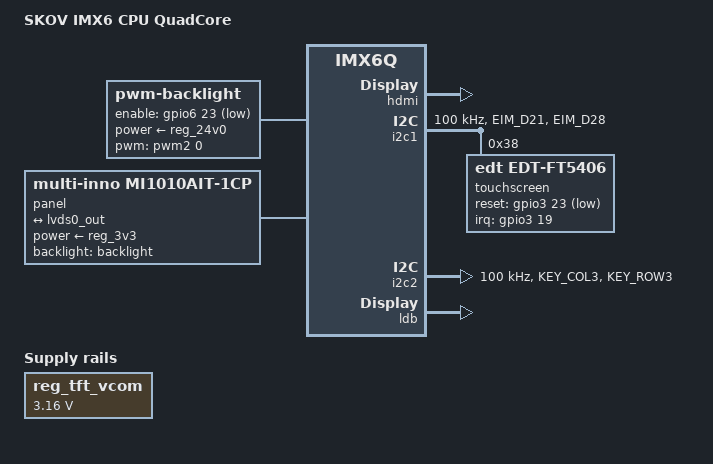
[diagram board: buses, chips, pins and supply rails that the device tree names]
// SPDX-License-Identifier: (GPL-2.0 OR MIT)
//
// Copyright (C) 2020 Pengutronix, Ulrich Oelmann <kernel@pengutronix.de>

/dts-v1/;
#include "imx6q.dtsi"
#include "imx6qdl-skov-cpu.dtsi"

/ {
	model = "SKOV IMX6 CPU QuadCore";
	compatible = "skov,imx6q-skov-reve-mi1010ait-1cp1", "fsl,imx6q";

	backlight: backlight {
		compatible = "pwm-backlight";
		pinctrl-names = "default";
		pinctrl-0 = <&pinctrl_backlight>;
		enable-gpios = <&gpio6 23 GPIO_ACTIVE_LOW>;
		pwms = <&pwm2 0 20000 0>;
		brightness-levels = <0 255>;
		num-interpolated-steps = <17>;
		default-brightness-level = <8>;
		power-supply = <&reg_24v0>;
	};

	panel {
		compatible = "multi-inno,mi1010ait-1cp";
		backlight = <&backlight>;
		power-supply = <&reg_3v3>;

		port {
			panel_in: endpoint {
				remote-endpoint = <&lvds0_out>;
			};
		};
	};
};

&clks {
	assigned-clocks = <&clks IMX6QDL_CLK_LDB_DI0_SEL>,
			  <&clks IMX6QDL_CLK_LDB_DI1_SEL>;
	assigned-clock-parents = <&clks IMX6QDL_CLK_PLL5_VIDEO_DIV>,
				 <&clks IMX6QDL_CLK_PLL5_VIDEO_DIV>;
};

&hdmi {
	ddc-i2c-bus = <&i2c2>;
	status = "okay";
};

&i2c1 {
	pinctrl-names = "default";
	pinctrl-0 = <&pinctrl_i2c1>;
	clock-frequency = <100000>;
	status = "okay";

	touchscreen@38 {
		compatible = "edt,edt-ft5406";
		reg = <0x38>;
		pinctrl-names = "default";
		pinctrl-0 = <&pinctrl_touchscreen>;
		interrupt-parent = <&gpio3>;
		interrupts = <19 IRQ_TYPE_EDGE_FALLING>;
		reset-gpios = <&gpio3 23 GPIO_ACTIVE_LOW>;
		touchscreen-size-x = <1280>;
		touchscreen-size-y = <800>;
		wakeup-source;
	};
};

&i2c2 {
	pinctrl-names = "default";
	pinctrl-0 = <&pinctrl_i2c2>;
	clock-frequency = <100000>;
	status = "okay";
};

&ldb {
	status = "okay";

	lvds-channel@0 {
		status = "okay";

		port@4 {
			reg = <4>;

			lvds0_out: endpoint {
				remote-endpoint = <&panel_in>;
			};
		};
	};
};

&iomuxc {
	pinctrl_backlight: backlightgrp {
		fsl,pins = <
			MX6QDL_PAD_RGMII_TD3__GPIO6_IO23		0x58
		>;
	};

	pinctrl_i2c1: i2c1grp {
		fsl,pins = <
			/* external 1 k pull up */
			MX6QDL_PAD_EIM_D21__I2C1_SCL		0x40010878
			/* external 1 k pull up */
			MX6QDL_PAD_EIM_D28__I2C1_SDA		0x40010878
		>;
	};

	pinctrl_i2c2: i2c2grp {
		fsl,pins = <
			/* internal 22 k pull up required */
			MX6QDL_PAD_KEY_COL3__I2C2_SCL		0x4001F878
			/* internal 22 k pull up required */
			MX6QDL_PAD_KEY_ROW3__I2C2_SDA		0x4001F878
		>;
	};

	pinctrl_touchscreen: touchscreengrp {
		fsl,pins = <
			/* external 10 k pull up */
			/* CTP_INT */
			MX6QDL_PAD_EIM_D19__GPIO3_IO19		0x1b0b0
			/* CTP_RST */
			MX6QDL_PAD_EIM_D23__GPIO3_IO23		0x1b0b0
		>;
	};
};

&reg_tft_vcom {
	regulator-min-microvolt = <3160000>;
	regulator-max-microvolt = <3160000>;
	voltage-table = <3160000 73>;
};
